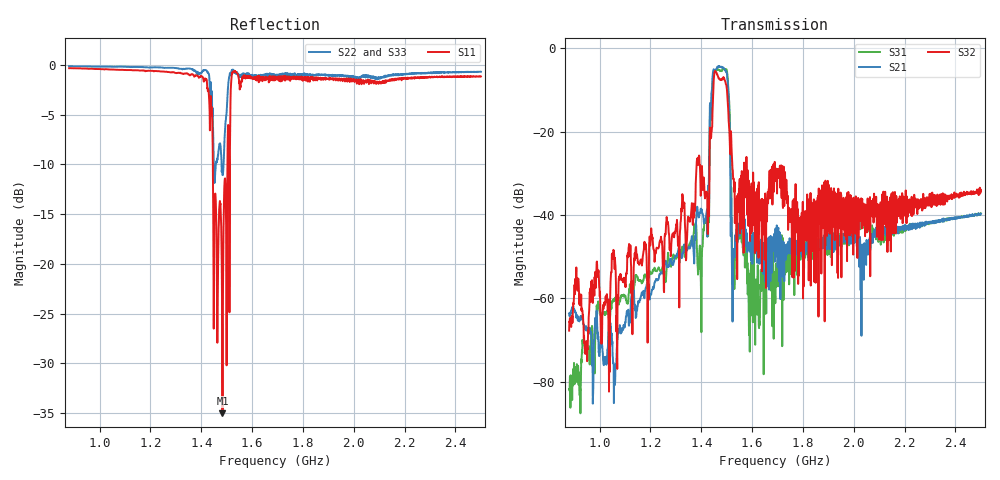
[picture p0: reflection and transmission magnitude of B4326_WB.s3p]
! Matrix data file written by TouchstoneData, EPCOS AG
! FILENAME: "AA74A_WB.s3p"
! COMMENT: "(AA74A_X10Y9_WB.s3p) Epcos AG 11/14/2012 1:5"
! INFO: nport=3, nfreq=1601
! DATE: "Thu Dec  6 15:32:55 2012"
! USER: "Adrian Ma"
! port | pin | signal
!  1  |  1  |  IN
!  2  |  3  |  OUT_BAL
!  3  |  4  |  OUT_BAL
# MHZ S RI R 50
! freq  reS11 imS11  reS12 imS12  reS13 imS13  ...
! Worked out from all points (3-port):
!   1601 points, 880 MHz to 2.5 GHz, reference 50 ohm
!   strongest paths, dB at 880 MHz, 1.285 GHz, 1.69 GHz, 2.095 GHz, 2.5 GHz:
!     S32: -67.7, -44.9, -31.8, -38.7, -34.3
!     S21: -63.6, -51.7, -48.8, -43.8, -39.7
!     S31: -81.7, -50.4, -57.2, -45.0, -39.6
!   lowest |S11| = -35.0 dB at 1.483 GHz (marker M1), VSWR 1.04, Z = 51.6 + j0.829 ohm
!   |S11| at or under -10 dB: 1.446 GHz to 1.503 GHz (57.25 MHz wide, 3.88 % of centre); 1.50966 GHz to 1.512567 GHz (2.907 MHz wide, 0.192 % of centre)
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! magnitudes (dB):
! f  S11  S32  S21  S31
! 880 MHz  -0.3  -67.7  -63.6  -81.7
! 1.059 GHz  -0.5  -53.0  -77.7  -60.1
! 1.393 GHz  -1.2  -28.1  -39.5  -47.9
! 1.423 GHz  -1.9  -34.6  -38.6  -39.8
! 1.447 GHz  -15.2  -9.8  -5.3  -6.1
! 1.483 GHz  -35.0  -7.2  -4.5  -5.0
! 1.506 GHz  -6.0  -14.5  -10.0  -9.0
! 1.527 GHz  -0.7  -31.2  -48.7  -49.7
! 1.69 GHz  -1.2  -31.8  -48.8  -57.2
! 2.5 GHz  -1.2  -34.3  -39.7  -39.6
